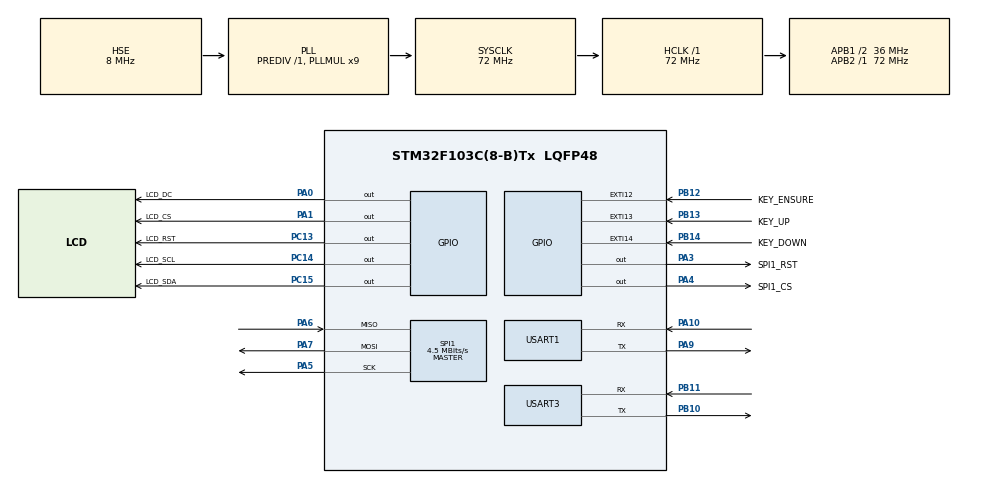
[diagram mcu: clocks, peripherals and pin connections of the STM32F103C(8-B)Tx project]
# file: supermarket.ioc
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Mcu.Family=STM32F1
Mcu.Name=STM32F103C(8-B)Tx
Mcu.Package=LQFP48
NVIC.EXTI15_10_IRQn=true\:0\:0\:false\:false\:true\:true\:true\:true
NVIC.PriorityGroup=NVIC_PRIORITYGROUP_4
NVIC.SPI1_IRQn=true\:0\:0\:false\:false\:true\:true\:true\:true
PA0-WKUP.GPIO_Label=LCD_DC
PA0-WKUP.GPIO_ModeDefaultOutputPP=GPIO_MODE_OUTPUT_PP
PA0-WKUP.GPIO_PuPd=GPIO_PULLUP
PA0-WKUP.GPIO_Speed=GPIO_SPEED_FREQ_HIGH
PA0-WKUP.PinState=GPIO_PIN_SET
PA0-WKUP.Signal=GPIO_Output
PA1.GPIO_Label=LCD_CS
PA1.GPIO_ModeDefaultOutputPP=GPIO_MODE_OUTPUT_PP
PA1.GPIO_PuPd=GPIO_PULLUP
PA1.GPIO_Speed=GPIO_SPEED_FREQ_HIGH
PA1.PinState=GPIO_PIN_SET
PA1.Signal=GPIO_Output
PA10.Mode=Asynchronous
PA10.Signal=USART1_RX
PA13.Mode=Serial_Wire
PA13.Signal=SYS_JTMS-SWDIO
PA14.Mode=Serial_Wire
PA14.Signal=SYS_JTCK-SWCLK
PA3.GPIO_Label=SPI1_RST
PA3.GPIO_ModeDefaultOutputPP=GPIO_MODE_OUTPUT_PP
PA3.GPIO_PuPd=GPIO_PULLUP
PA3.GPIO_Speed=GPIO_SPEED_FREQ_MEDIUM
PA3.PinState=GPIO_PIN_SET
PA3.Signal=GPIO_Output
PA4.GPIO_Label=SPI1_CS
PA4.GPIO_ModeDefaultOutputPP=GPIO_MODE_OUTPUT_PP
PA4.GPIO_PuPd=GPIO_PULLUP
PA4.GPIO_Speed=GPIO_SPEED_FREQ_MEDIUM
PA4.PinState=GPIO_PIN_SET
PA4.Signal=GPIO_Output
PA5.Mode=Full_Duplex_Master
PA5.Signal=SPI1_SCK
PA6.Mode=Full_Duplex_Master
PA6.Signal=SPI1_MISO
PA7.Mode=Full_Duplex_Master
PA7.Signal=SPI1_MOSI
PA9.Mode=Asynchronous
PA9.Signal=USART1_TX
PB10.Mode=Asynchronous
PB10.Signal=USART3_TX
PB11.Mode=Asynchronous
PB11.Signal=USART3_RX
PB12.GPIO_Label=KEY_ENSURE
PB12.GPIO_ModeDefaultEXTI=GPIO_MODE_IT_FALLING
PB12.GPIO_PuPd=GPIO_PULLUP
PB12.Signal=GPXTI12
PB13.GPIO_Label=KEY_UP
PB13.GPIO_ModeDefaultEXTI=GPIO_MODE_IT_FALLING
PB13.GPIO_PuPd=GPIO_PULLUP
PB13.Signal=GPXTI13
PB14.GPIO_Label=KEY_DOWN
PB14.GPIO_ModeDefaultEXTI=GPIO_MODE_IT_FALLING
PB14.GPIO_PuPd=GPIO_PULLUP
PB14.Signal=GPXTI14
PC13-TAMPER-RTC.GPIO_Label=LCD_RST
PC13-TAMPER-RTC.GPIO_PuPd=GPIO_PULLUP
PC13-TAMPER-RTC.GPIO_Speed=GPIO_SPEED_FREQ_HIGH
PC13-TAMPER-RTC.PinState=GPIO_PIN_SET
PC13-TAMPER-RTC.Signal=GPIO_Output
PC14-OSC32_IN.GPIO_Label=LCD_SCL
PC14-OSC32_IN.GPIO_PuPd=GPIO_PULLUP
PC14-OSC32_IN.GPIO_Speed=GPIO_SPEED_FREQ_HIGH
PC14-OSC32_IN.PinState=GPIO_PIN_SET
PC14-OSC32_IN.Signal=GPIO_Output
PC15-OSC32_OUT.GPIO_Label=LCD_SDA
PC15-OSC32_OUT.GPIO_ModeDefaultOutputPP=GPIO_MODE_OUTPUT_PP
PC15-OSC32_OUT.GPIO_PuPd=GPIO_PULLUP
PC15-OSC32_OUT.GPIO_Speed=GPIO_SPEED_FREQ_HIGH
PC15-OSC32_OUT.PinState=GPIO_PIN_SET
PC15-OSC32_OUT.Signal=GPIO_Output
PD0-OSC_IN.Mode=HSE-External-Oscillator
PD0-OSC_IN.Signal=RCC_OSC_IN
PD1-OSC_OUT.Mode=HSE-External-Oscillator
PD1-OSC_OUT.Signal=RCC_OSC_OUT
ProjectManager.HeapSize=0x200
ProjectManager.StackSize=0x400
ProjectManager.TargetToolchain=MDK-ARM V5.32
RCC.AHBFreq_Value=72000000
RCC.APB1CLKDivider=RCC_HCLK_DIV2
RCC.APB1Freq_Value=36000000
RCC.APB1TimFreq_Value=72000000
RCC.APB2Freq_Value=72000000
RCC.APB2TimFreq_Value=72000000
RCC.HCLKFreq_Value=72000000
RCC.PLLMUL=RCC_PLL_MUL9
RCC.PLLSourceVirtual=RCC_PLLSOURCE_HSE
RCC.SYSCLKFreq_VALUE=72000000
RCC.SYSCLKSource=RCC_SYSCLKSOURCE_PLLCLK
RCC.USBFreq_Value=72000000
SPI1.BaudRatePrescaler=SPI_BAUDRATEPRESCALER_16
SPI1.CalculateBaudRate=4.5 MBits/s
SPI1.Direction=SPI_DIRECTION_2LINES
SPI1.Mode=SPI_MODE_MASTER
SPI1.VirtualType=VM_MASTER
USART1.VirtualMode=VM_ASYNC
USART3.VirtualMode=VM_ASYNC
board=custom

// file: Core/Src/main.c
/* USER CODE BEGIN Header */
/**
  ******************************************************************************
  * @file           : main.c
  * @brief          : Main program body
  ******************************************************************************
  * @attention
  *
  * Copyright (c) 2025 STMicroelectronics.
  * All rights reserved.
  *
  * This software is licensed under terms that can be found in the LICENSE file
  * in the root directory of this software component.
  * If no LICENSE file comes with this software, it is provided AS-IS.
  *
  ******************************************************************************
  */
/* USER CODE END Header */
#include "main.h"
#include "spi.h"
#include "usart.h"
#include "gpio.h"

/* USER CODE BEGIN Includes */
#include "RC522.h"
#include "stdio.h"
#include  "oled.h"
#include  "ui_welcome.h"
#include  "ui_home.h"
#include "ui_setting.h"
#include "stm_flash.h"
#include "string.h"

/* USER CODE END Includes */

void SystemClock_Config(void);

int main(void)
{
  /* USER CODE BEGIN 1 */
   uint16_t flash_data[4];
	  uint16_t test_data = 0x1122;
  /* USER CODE END 1 */

  /* MCU Configuration--------------------------------------------------------*/

  /* Reset of all peripherals, Initializes the Flash interface and the Systick. */
  HAL_Init();

  /* Configure the system clock */
  SystemClock_Config();

  /* Initialize all configured peripherals */
  MX_GPIO_Init();
  MX_SPI1_Init();
  MX_USART1_UART_Init();
  MX_USART3_UART_Init();
  /* USER CODE BEGIN 2 */
	OLED_Init();
	OLED_ColorTurn(0);//0正常显示，1 反色显示
	OLED_DisplayTurn(0);//0正常显示 1 屏幕翻转显示
	OLED_Clear();
	PCD_Reset();
  PCD_AntennaOff();
  PCD_AntennaOn();

		 //上电后读出FLASH中数据
		 FLASH_ReadHalfWordData(STM32_FLASH_BASE+STM32_SECTOR_SIZE*USER_FLASH_PAGE,flash_data,4);
		 nfc_card[0].price =flash_data[0];
		 nfc_card[1].price = flash_data[1];
		 nfc_card[2].price =flash_data[2];
		 nfc_card[3].price = flash_data[3];
   ui_welcome();
	//ui_setting();
	// ui_home();
  /* USER CODE END 2 */

  /* Infinite loop */
  while (1)
  {

  }
}

void SystemClock_Config(void)
{
  RCC_OscInitTypeDef RCC_OscInitStruct = {0};
  RCC_ClkInitTypeDef RCC_ClkInitStruct = {0};

  /** Initializes the RCC Oscillators according to the specified parameters
  * in the RCC_OscInitTypeDef structure.
  */
  RCC_OscInitStruct.OscillatorType = RCC_OSCILLATORTYPE_HSE;
  RCC_OscInitStruct.HSEState = RCC_HSE_ON;
  RCC_OscInitStruct.HSEPredivValue = RCC_HSE_PREDIV_DIV1;
  RCC_OscInitStruct.HSIState = RCC_HSI_ON;
  RCC_OscInitStruct.PLL.PLLState = RCC_PLL_ON;
  RCC_OscInitStruct.PLL.PLLSource = RCC_PLLSOURCE_HSE;
  RCC_OscInitStruct.PLL.PLLMUL = RCC_PLL_MUL9;
  if (HAL_RCC_OscConfig(&RCC_OscInitStruct) != HAL_OK)
  {
    Error_Handler();
  }

  /** Initializes the CPU, AHB and APB buses clocks
  */
  RCC_ClkInitStruct.ClockType = RCC_CLOCKTYPE_HCLK|RCC_CLOCKTYPE_SYSCLK
                              |RCC_CLOCKTYPE_PCLK1|RCC_CLOCKTYPE_PCLK2;
  RCC_ClkInitStruct.SYSCLKSource = RCC_SYSCLKSOURCE_PLLCLK;
  RCC_ClkInitStruct.AHBCLKDivider = RCC_SYSCLK_DIV1;
  RCC_ClkInitStruct.APB1CLKDivider = RCC_HCLK_DIV2;
  RCC_ClkInitStruct.APB2CLKDivider = RCC_HCLK_DIV1;

  if (HAL_RCC_ClockConfig(&RCC_ClkInitStruct, FLASH_LATENCY_2) != HAL_OK)
  {
    Error_Handler();
  }
}

void Error_Handler(void)
{
  __disable_irq();
  while (1)
  {
  }
}
